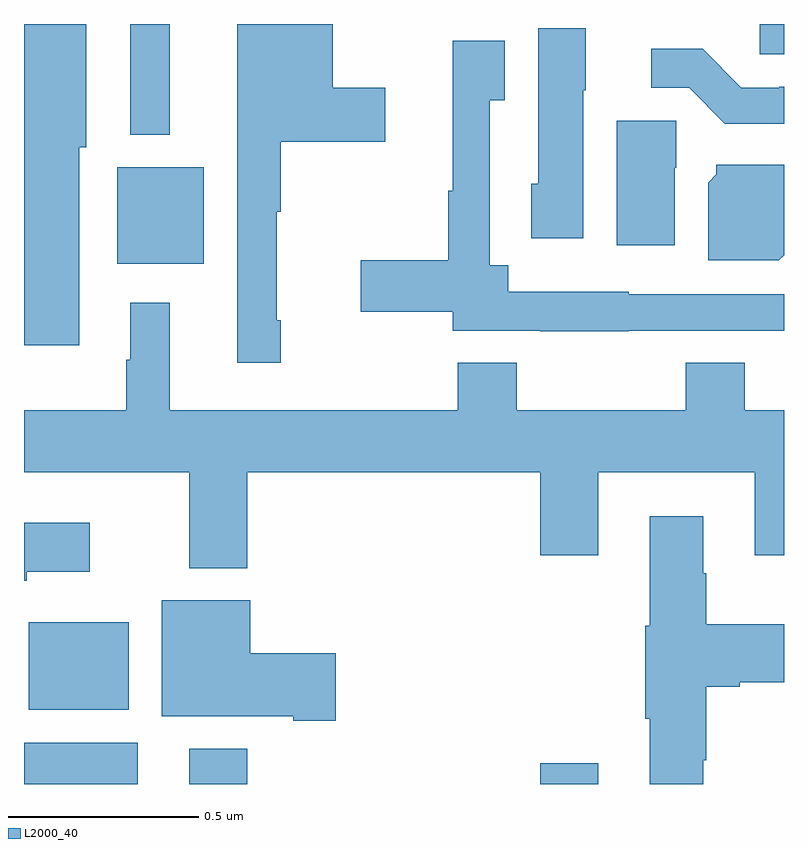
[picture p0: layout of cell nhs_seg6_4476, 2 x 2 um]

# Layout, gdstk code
import gdstk
lib = gdstk.Library(unit=1e-6, precision=1e-09)
def R(c, l, rs):  # rectangles x0, y0, x1, y1
    for r in rs: c.add(gdstk.rectangle(r[:2], r[2:], *l))
def P(c, l, *ps):  # polygons
    for p in ps: c.add(gdstk.Polygon(p, *l))
L2000_40 = (2000, 40)

nhs_seg6_4476 = lib.new_cell('nhs_seg6_4476')
R(nhs_seg6_4476, L2000_40, [(170,962.5,170.299,962.608), (170.435,962.5,170.588,962.593), (171.359,962.5,171.511,962.554), (170.012,962.696,170.275,962.926), (170.246,963.869,170.473,964.123), (170.279,964.208,170.383,964.5), (171.936,964.42,172,964.5)])
P(nhs_seg6_4476, L2000_40, [(170.146,964.176),(170.164,964.176),(170.164,964.5),(170,964.5),(170,963.654),(170.146,963.654)],
  [(170.675,963.721),(170.665,963.721),(170.665,964.006),(170.675,964.006),(170.675,964.19),(170.95,964.19),(170.95,964.332),(170.812,964.332),(170.812,964.5),(170.561,964.5),(170.561,963.609),(170.675,963.609)],
  [(171.472,964.326),(171.478,964.326),(171.478,964.489),(171.353,964.489),(171.353,964.08),(171.335,964.08),(171.335,963.936),(171.472,963.936)],
  [(171.591,963.693),(172,963.693),(172,963.789),(171.591,963.789),(171.591,963.796),(171.274,963.796),(171.274,963.865),(171.225,963.865),(171.225,964.3),(171.265,964.3),(171.265,964.456),(171.128,964.456),(171.128,964.061),(171.117,964.061),(171.117,963.878),(170.886,963.878),(170.886,963.743),(171.128,963.743),(171.128,963.693),(171.359,963.693),(171.359,963.692),(171.591,963.692)],
  [(172,964.335),(171.988,964.335),(171.988,964.332),(171.888,964.332),(171.786,964.435),(171.651,964.435),(171.651,964.332),(171.75,964.332),(171.844,964.238),(172,964.238)],
  [(171.712,964.122),(171.716,964.122),(171.716,964.245),(171.56,964.245),(171.56,963.918),(171.712,963.918)],
  [(172,963.892),(172,964.129),(171.822,964.129),(171.822,964.104),(171.8,964.082),(171.8,963.878),(171.986,963.878)],
  [(170.588,963.32),(171.359,963.32),(171.359,963.102),(171.511,963.102),(171.511,963.32),(171.923,963.32),(171.923,963.102),(172,963.102),(172,963.484),(171.897,963.484),(171.897,963.608),(171.742,963.608),(171.742,963.484),(171.297,963.484),(171.297,963.608),(171.142,963.608),(171.142,963.484),(170.383,963.484),(170.383,963.766),(170.279,963.766),(170.279,963.617),(170.269,963.617),(170.269,963.484),(170,963.484),(170,963.32),(170.435,963.32),(170.435,963.068),(170.588,963.068)],
  [(171.787,962.563),(171.795,962.563),(171.795,962.756),(171.883,962.756),(171.883,962.768),(172,962.768),(172,962.92),(171.795,962.92),(171.795,963.054),(171.787,963.054),(171.787,963.205),(171.647,963.205),(171.647,962.916),(171.635,962.916),(171.635,962.672),(171.647,962.672),(171.647,962.5),(171.787,962.5)],
  [(170.007,963.059),(170.173,963.059),(170.173,963.187),(170,963.187),(170,963.035),(170.007,963.035)],
  [(170.821,962.844),(170.596,962.844),(170.596,962.983),(170.363,962.983),(170.363,962.678),(170.708,962.678),(170.708,962.666),(170.821,962.666)])

lib.write_gds('nhs_seg6_4476.gds')
